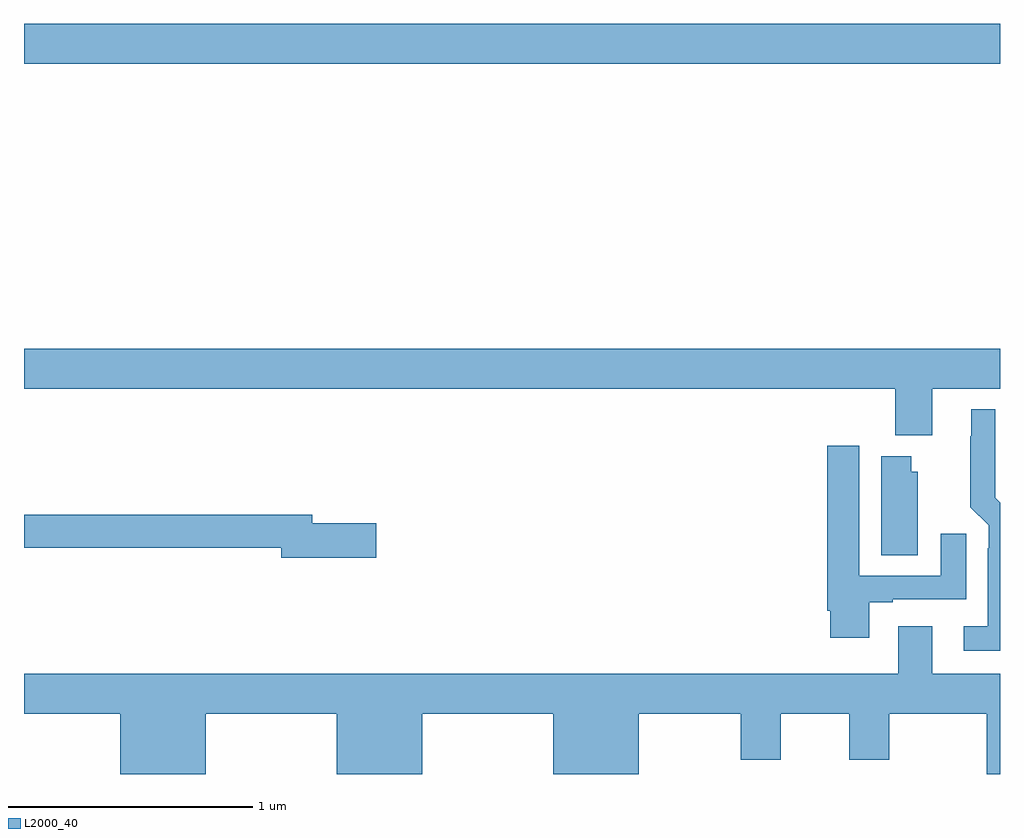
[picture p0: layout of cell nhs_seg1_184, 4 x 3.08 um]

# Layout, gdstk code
import gdstk
lib = gdstk.Library(unit=1e-6, precision=1e-09)
def R(c, l, rs):  # rectangles x0, y0, x1, y1
    for r in rs: c.add(gdstk.rectangle(r[:2], r[2:], *l))
def P(c, l, *ps):  # polygons
    for p in ps: c.add(gdstk.Polygon(p, *l))
L2000_40 = (2000, 40)

nhs_seg1_184 = lib.new_cell('nhs_seg1_184')
R(nhs_seg1_184, L2000_40, [(121,505.112,125,505.276)])
P(nhs_seg1_184, L2000_40, [(124.723,503.78),(125,503.78),(125,503.944),(121,503.944),(121,503.78),(124.571,503.78),(124.571,503.588),(124.723,503.588)],
  [(125,503.313),(124.981,503.332),(124.981,503.695),(124.883,503.695),(124.883,503.585),(124.879,503.585),(124.879,503.294),(124.953,503.22),(124.953,503.126),(124.949,503.126),(124.949,502.807),(124.851,502.807),(124.851,502.706),(125,502.706)],
  [(124.465,502.905),(124.561,502.905),(124.561,502.917),(124.861,502.917),(124.861,503.185),(124.757,503.185),(124.757,503.013),(124.423,503.013),(124.423,503.545),(124.292,503.545),(124.292,502.87),(124.304,502.87),(124.304,502.758),(124.465,502.758)],
  [(124.663,503.439),(124.636,503.439),(124.636,503.503),(124.514,503.503),(124.514,503.098),(124.663,503.098)],
  [(122.443,503.228),(122.182,503.228),(122.182,503.264),(121,503.264),(121,503.128),(122.054,503.128),(122.054,503.086),(122.443,503.086)],
  [(121.744,502.448),(122.282,502.448),(122.282,502.199),(122.632,502.199),(122.632,502.448),(123.17,502.448),(123.17,502.199),(123.52,502.199),(123.52,502.448),(123.938,502.448),(123.938,502.26),(124.102,502.26),(124.102,502.448),(124.382,502.448),(124.382,502.26),(124.546,502.26),(124.546,502.448),(124.946,502.448),(124.946,502.199),(125,502.199),(125,502.612),(124.723,502.612),(124.723,502.807),(124.583,502.807),(124.583,502.612),(121,502.612),(121,502.448),(121.394,502.448),(121.394,502.199),(121.744,502.199)])

lib.write_gds('nhs_seg1_184.gds')
